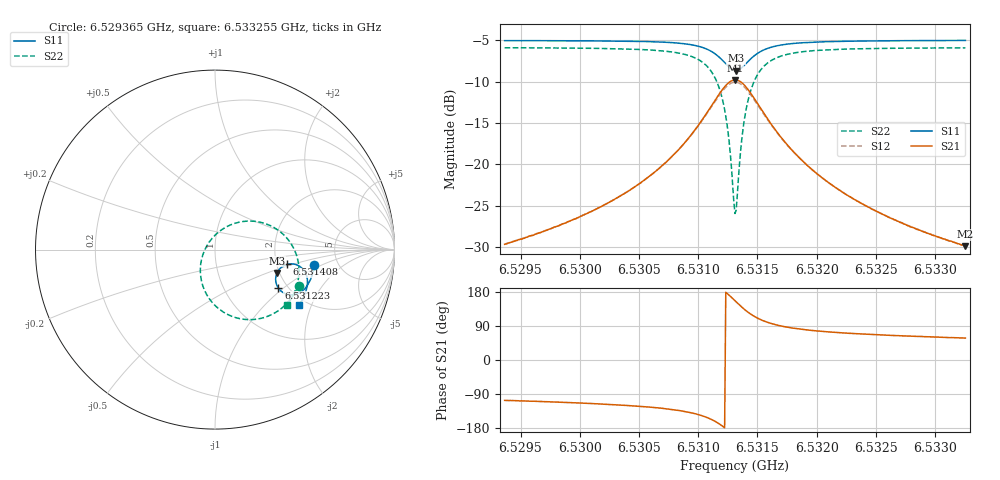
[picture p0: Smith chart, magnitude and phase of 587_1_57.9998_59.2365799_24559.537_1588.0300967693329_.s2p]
#  HZ  S  RI  R  50.00
! Rohde & Schwarz Vector Network Analyzer
! Rohde-Schwarz,ZNB20-2Port,1311601062101988,3.16
! Created: UTC 3/21/2024, 1:16:39 AM
! freq[Hz]  re:S11  im:S11  re:S21  im:S21  re:S12  im:S12  re:S22  im:S22
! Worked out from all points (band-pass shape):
!   401 points, 6.529365 GHz to 6.533255 GHz, reference 50 ohm
!   highest |S21| = -9.79 dB at 6.53131 GHz (marker M1); lowest = -29.9 dB at 6.533255 GHz (marker M2)
!   |S21| within 3 dB of the highest: 6.531118 GHz to 6.531507 GHz (389.1 kHz wide, 0.00596 % of centre)
!   lowest |S11| = -8.7 dB at 6.53132 GHz (marker M3), VSWR 2.17, Z = 96.9 - j29.3 ohm
!   |S11| at or under -10 dB: nowhere
!   |S22| runs from -26.0 to -5.9 dB; largest |S21 - S12| = 0.013
!   S11 on the Smith chart (normalised r, x): 6.529365 GHz: 3.33, -0.82; 6.531223 GHz: 1.79, -0.92; 6.531408 GHz: 2.28, -0.45; 6.533255 GHz: 1.83, -1.64
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6.5293655e9  0.5543 -0.0845  -0.00934 -0.0314  -0.01 -0.0313  0.4663 -0.2009
6.530017e9  0.5419 -0.1392  -0.0197 -0.0444  -0.0207 -0.0441  0.4321 -0.261
6.5303865e9  0.5289 -0.1742  -0.0332 -0.0584  -0.0348 -0.0575  0.3958 -0.3042
6.5306685e9  0.5111 -0.2053  -0.0563 -0.0757  -0.0583 -0.074  0.344 -0.346
6.5308922e9  0.4821 -0.2342  -0.0985 -0.0946  -0.1015 -0.091  0.2587 -0.3824
6.5310575e9  0.4357 -0.252  -0.1705 -0.0991  -0.1724 -0.0918  0.1276 -0.3823
6.5311547e9  0.3889 -0.2444  -0.2425 -0.0691  -0.2409 -0.0587  0.00807 -0.3186
6.5312228e9  0.3528 -0.214  -0.2944 -0.00591  -0.2875 0.00456  -0.0676 -0.2032
6.531252e9  0.3423 -0.1922  -0.3076 0.0352  -0.2981 0.0439  -0.0813 -0.1331
6.5312909e9  0.3383 -0.1573  -0.307 0.0981  -0.295 0.1032  -0.0683 -0.0305
6.5313103e9  0.3419 -0.1392  -0.2971 0.1295  -0.2849 0.1326  -0.0466 0.019
6.53132e9  0.3452 -0.1307  -0.29 0.1443  -0.2779 0.1463  -0.0322 0.0419
6.5313298e9  0.3494 -0.1224  -0.2812 0.1585  -0.2695 0.1593  -0.0156 0.0633
6.5313687e9  0.3731 -0.0961  -0.2363 0.2031  -0.2263 0.2006  0.0659 0.128
6.5314075e9  0.4023 -0.0823  -0.1837 0.2261  -0.1766 0.2221  0.1562 0.1566
6.5314756e9  0.4483 -0.0827  -0.1038 0.2257  -0.1002 0.222  0.2894 0.1413
6.5315729e9  0.4878 -0.1067  -0.0362 0.1907  -0.0345 0.1886  0.398 0.0668
6.5317187e9  0.5102 -0.1445  0.00353 0.1398  0.00473 0.139  0.4554 -0.0348
6.5319618e9  0.515 -0.1889  0.0194 0.0906  0.0205 0.0903  0.4674 -0.1364
6.5322341e9  0.509 -0.2227  0.0215 0.063  0.0223 0.0628  0.4564 -0.1993
6.5326133e9  0.4962 -0.2587  0.02 0.0431  0.0207 0.0431  0.4357 -0.2533
6.5332551e9  0.4707 -0.3074  0.017 0.027  0.0176 0.0268  0.4003 -0.3113
